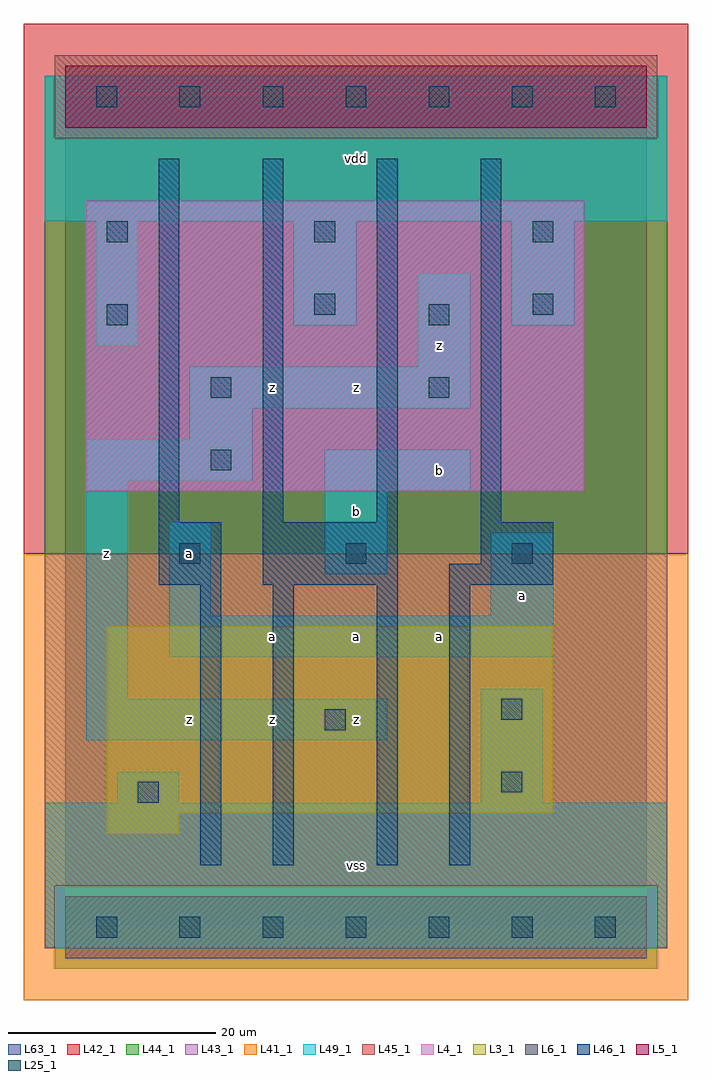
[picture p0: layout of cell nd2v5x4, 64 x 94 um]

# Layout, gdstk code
import gdstk
lib = gdstk.Library(unit=1e-6, precision=1e-09)
def R(c, l, rs):  # rectangles x0, y0, x1, y1
    for r in rs: c.add(gdstk.rectangle(r[:2], r[2:], *l))
def A(c, l, x, y, w, h, nx, ny, dx, dy):  # array of equal rectangles
    R(c, l, [(x+i*dx, y+j*dy, x+i*dx+w, y+j*dy+h) for i in range(nx) for j in range(ny)])
L3_1 = (3, 1)
L4_1 = (4, 1)
L5_1 = (5, 1)
L6_1 = (6, 1)
L25_1 = (25, 1)
L41_1 = (41, 1)
L42_1 = (42, 1)
L43_1 = (43, 1)
L44_1 = (44, 1)
L45_1 = (45, 1)
L46_1 = (46, 1)
L49_1 = (49, 1)
L63_1 = (63, 1)

nd2v5x4 = lib.new_cell('nd2v5x4')
R(nd2v5x4, L3_1, [(4,9,11,11), (4,11,47,29)])
R(nd2v5x4, L4_1, [(2,42,50,70)])
R(nd2v5x4, L5_1, [(0,77,56,83)])
R(nd2v5x4, L6_1, [(0,-3,56,3), (0,-3,56,3)])
A(nd2v5x4, L25_1, 3, -1, 2, 2, 7, 2, 8, 80)
A(nd2v5x4, L25_1, 11, 35, 2, 2, 3, 1, 16, 0)
R(nd2v5x4, L25_1, [(7,12,9,14), (42,13,44,15), (25,19,27,21), (42,20,44,22), (14,44,16,46), (14,51,16,53), (35,51,37,53), (4,58,6,60), (35,58,37,60), (24,59,26,61), (45,59,47,61), (4,66,6,68), (24,66,26,68), (45,66,47,68)])
R(nd2v5x4, L41_1, [(-4,-7,60,36)])
R(nd2v5x4, L42_1, [(-4,36,60,87)])
R(nd2v5x4, L43_1, [(0,-3,56,3), (4,9,11,11), (4,11,47,29), (2,42,50,70), (0,77,56,83)])
R(nd2v5x4, L44_1, [(-1,-4,57,4), (-2,36,58,76), (-2,76,-1,82), (57,76,58,82)])
R(nd2v5x4, L45_1, [(-2,-2,-1,4), (57,-2,58,4), (-2,4,58,36), (-1,76,57,84)])
R(nd2v5x4, L46_1, [(13,6,15,33), (20,6,22,33), (30,6,32,33), (37,6,39,33), (9,33,15,39), (19,33,32,39), (37,33,47,35), (40,35,47,39), (9,39,11,74), (19,39,21,74), (30,39,32,74), (40,39,42,74)])
R(nd2v5x4, L49_1, [(-2,-2,58,12), (5,12,11,15), (40,12,46,23), (2,18,31,22), (2,22,6,43), (10,26,47,30), (10,30,14,39), (41,30,47,38), (25,34,31,42), (25,42,39,46), (2,43,18,47), (12,47,18,50), (12,50,39,54), (34,54,39,63), (3,56,7,68), (22,58,28,68), (43,58,49,68), (-2,68,58,82)])
R(nd2v5x4, L63_1, [(0,0,56,80)])
nd2v5x4.add(gdstk.Label('z', (4,36), layer=49, texttype=1))
nd2v5x4.add(gdstk.Label('z', (12,20), layer=49, texttype=1))
nd2v5x4.add(gdstk.Label('a', (12,36), layer=49, texttype=1))
nd2v5x4.add(gdstk.Label('vss', (28,6), layer=49, texttype=1))
nd2v5x4.add(gdstk.Label('z', (20,20), layer=49, texttype=1))
nd2v5x4.add(gdstk.Label('a', (20,28), layer=49, texttype=1))
nd2v5x4.add(gdstk.Label('a', (28,28), layer=49, texttype=1))
nd2v5x4.add(gdstk.Label('z', (28,20), layer=49, texttype=1))
nd2v5x4.add(gdstk.Label('b', (28,40), layer=49, texttype=1))
nd2v5x4.add(gdstk.Label('z', (28,52), layer=49, texttype=1))
nd2v5x4.add(gdstk.Label('z', (20,52), layer=49, texttype=1))
nd2v5x4.add(gdstk.Label('vdd', (28,74), layer=49, texttype=1))
nd2v5x4.add(gdstk.Label('a', (36,28), layer=49, texttype=1))
nd2v5x4.add(gdstk.Label('a', (44,32), layer=49, texttype=1))
nd2v5x4.add(gdstk.Label('b', (36,44), layer=49, texttype=1))
nd2v5x4.add(gdstk.Label('z', (36,56), layer=49, texttype=1))

lib.write_gds('nd2v5x4.gds')
